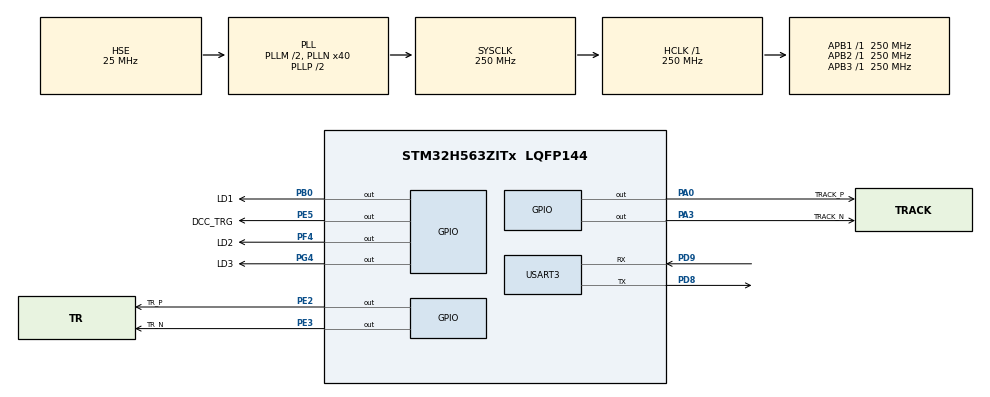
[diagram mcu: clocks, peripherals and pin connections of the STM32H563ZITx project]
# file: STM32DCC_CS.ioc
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BOOTPATH.BootPathName=LEGACY
BOOTPATH.UserSelectedBootPath=LEGACY
CORTEX_M33_NS.userName=CORTEX_M33
Mcu.Family=STM32H5
Mcu.Name=STM32H563ZITx
Mcu.Package=LQFP144
NVIC.PriorityGroup=NVIC_PRIORITYGROUP_4
NVIC.TIM2_IRQn=true\:2\:0\:true\:false\:true\:false\:true\:true\:true
NVIC.TIM6_IRQn=true\:15\:0\:false\:false\:true\:false\:false\:true\:true
NVIC.TimeBase=TIM6_IRQn
NVIC.TimeBaseIP=TIM6
PA0.GPIO_Label=TRACK_P
PA0.GPIO_Speed=GPIO_SPEED_FREQ_HIGH
PA0.Signal=GPIO_Output
PA3.GPIO_Label=TRACK_N
PA3.GPIO_Speed=GPIO_SPEED_FREQ_HIGH
PA3.Signal=GPIO_Output
PB0.GPIO_Label=LD1
PB0.Signal=GPIO_Output
PC14-OSC32_IN(OSC32_IN).Mode=LSE-External-Oscillator
PC14-OSC32_IN(OSC32_IN).Signal=RCC_OSC32_IN
PC15-OSC32_OUT(OSC32_OUT).Mode=LSE-External-Oscillator
PC15-OSC32_OUT(OSC32_OUT).Signal=RCC_OSC32_OUT
PD8.Mode=Asynchronous
PD8.Signal=USART3_TX
PD9.Mode=Asynchronous
PD9.Signal=USART3_RX
PE2.GPIO_Label=TR_P
PE2.GPIO_Speed=GPIO_SPEED_FREQ_VERY_HIGH
PE2.Signal=GPIO_Output
PE3.GPIO_Label=TR_N
PE3.GPIO_Speed=GPIO_SPEED_FREQ_VERY_HIGH
PE3.Signal=GPIO_Output
PE5.GPIO_Label=DCC_TRG
PE5.GPIO_Speed=GPIO_SPEED_FREQ_HIGH
PE5.Signal=GPIO_Output
PF4.GPIO_Label=LD2
PF4.Signal=GPIO_Output
PG4.GPIO_Label=LD3
PG4.Signal=GPIO_Output
PH0-OSC_IN(PH0).Mode=HSE-DIG-External-Clock-Source
PH0-OSC_IN(PH0).Signal=RCC_OSC_IN
ProjectManager.HeapSize=0x1024
ProjectManager.StackSize=0x2000
ProjectManager.TargetToolchain=CMake
RCC.ADCFreq_Value=250000000
RCC.AHBFreq_Value=250000000
RCC.APB1Freq_Value=250000000
RCC.APB1TimFreq_Value=250000000
RCC.APB2Freq_Value=250000000
RCC.APB2TimFreq_Value=250000000
RCC.APB3Freq_Value=250000000
RCC.CSI_VALUE=4000000
RCC.CortexFreq_Value=250000000
RCC.EPOD_VALUE=25000000
RCC.HCLKFreq_Value=250000000
RCC.HSE_VALUE=25000000
RCC.HSI48_VALUE=48000000
RCC.HSIDiv=RCC_HSI_DIV1
RCC.HSI_VALUE=64000000
RCC.LSIRC_VALUE=32000
RCC.PLLM=2
RCC.PLLN=40
RCC.PLLSourceVirtual=RCC_PLL1_SOURCE_HSE
RCC.SYSCLKFreq_VALUE=250000000
RCC.SYSCLKSource=RCC_SYSCLKSOURCE_PLLCLK
RCC.USART3CLockSelection=RCC_USART3CLKSOURCE_HSI
RCC.USBFreq_Value=48000000
RCC.VCOOutputFreq_Value=500000000
THREADX.AZRTOS_APP_MEM_ALLOCATION_METHOD=1
THREADX.TX_APP_CREATION=1
THREADX.TX_APP_GENERATE_INIT_CODE=true
THREADX.TX_APP_MEM_POOL_SIZE=65535
THREADX.TX_APP_STACK_SIZE=8192
THREADX.TX_MINIMUM_STACK=512
TIM2.PeriodNoDither=118
TIM2.Prescaler=75
USART3.VirtualMode-Asynchronous=VM_ASYNC
VP_BOOTPATH_VS_BOOTPATH.Mode=BP_Activate
VP_CORTEX_M33_NS_VS_Hclk.Mode=Hclk_Mode
VP_ICACHE_VS_ENABLE_ICACHE_MEMORY.Mode=Memoryregions
VP_ICACHE_VS_ICACHE.Mode=DirectMappedCache
VP_MEMORYMAP_VS_MEMORYMAP.Mode=CurAppReg
VP_PWR_VS_LPOM.Mode=PowerOptimisation
VP_PWR_VS_SECSignals.Mode=Security/Privilege
VP_SYS_VS_tim6.Mode=TIM6
VP_THREADX_VS_RTOSJjThreadXJjCoreJjDefault.Mode=Core_Default
VP_TIM2_VS_ClockSourceINT.Mode=Internal
board=custom

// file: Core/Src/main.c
/* USER CODE BEGIN Header */
/**
  ******************************************************************************
  * @file           : main.c
  * @brief          : Main program body
  ******************************************************************************
  * @attention
  *
  * Copyright (c) 2025 STMicroelectronics.
  * All rights reserved.
  *
  * This software is licensed under terms that can be found in the LICENSE file
  * in the root directory of this software component.
  * If no LICENSE file comes with this software, it is provided AS-IS.
  *
  ******************************************************************************
  */
/* USER CODE END Header */
#include "app_threadx.h"
#include "main.h"

/* USER CODE BEGIN Includes */
#include "stm32_lock_user.h"
#include "command_station.h"

/* USER CODE END Includes */

TIM_HandleTypeDef htim2;

UART_HandleTypeDef huart3;

/* USER CODE BEGIN PV */
LockingData_t newlib_lock = LOCKING_DATA_INIT;

/* USER CODE END PV */

void SystemClock_Config(void);
static void MX_GPIO_Init(void);
static void MX_USART3_UART_Init(void);
static void MX_ICACHE_Init(void);
static void MX_TIM2_Init(void);
/* USER CODE BEGIN PFP */
#if defined(__ICCARM__)
/* New definition from EWARM V9, compatible with EWARM8 */
int iar_fputc(int ch);
#define PUTCHAR_PROTOTYPE int iar_fputc(int ch)
#elif defined ( __CC_ARM ) || defined(__ARMCC_VERSION)
/* ARM Compiler 5/6*/
#define PUTCHAR_PROTOTYPE int fputc(int ch, FILE *f)
#elif defined(__GNUC__)
#define PUTCHAR_PROTOTYPE int __io_putchar(int ch)
#endif /* __ICCARM__ */

/* USER CODE END PFP */

/* USER CODE BEGIN 0 */

void init_thread_safe_system(void)
{
    stm32_lock_init(&newlib_lock);
}

void bsp_write_green_led(bool on) {
  if (on) HAL_GPIO_WritePin(LD1_GPIO_Port, LD1_Pin, GPIO_PIN_SET);
  else HAL_GPIO_WritePin(LD1_GPIO_Port, LD1_Pin, GPIO_PIN_RESET);
}

void bsp_write_yellow_led(bool on) {
  if (on) HAL_GPIO_WritePin(LD2_GPIO_Port, LD2_Pin, GPIO_PIN_SET);
  else HAL_GPIO_WritePin(LD2_GPIO_Port, LD2_Pin, GPIO_PIN_RESET);
}

void bsp_write_red_led(bool on) {
  if (on) HAL_GPIO_WritePin(LD3_GPIO_Port, LD3_Pin, GPIO_PIN_SET);
  else HAL_GPIO_WritePin(LD3_GPIO_Port, LD3_Pin, GPIO_PIN_RESET);
}

/* USER CODE END 0 */

int main(void)
{

  /* MCU Configuration--------------------------------------------------------*/

  /* Reset of all peripherals, Initializes the Flash interface and the Systick. */
  HAL_Init();

  /* Configure the system clock */
  SystemClock_Config();

  /* USER CODE BEGIN SysInit */

  // Initialize thread-safe lock
  init_thread_safe_system();

  /* USER CODE END SysInit */

  /* Initialize all configured peripherals */
  MX_GPIO_Init();
  MX_USART3_UART_Init();
  MX_ICACHE_Init();
  MX_TIM2_Init();

  MX_ThreadX_Init();

  /* We should never get here as control is now taken by the scheduler */

  /* Infinite loop */
  /* USER CODE BEGIN WHILE */
  while (1)
  {
    command_station_main();
    break;
    /* USER CODE END WHILE */

  }
}

void SystemClock_Config(void)
{
  RCC_OscInitTypeDef RCC_OscInitStruct = {0};
  RCC_ClkInitTypeDef RCC_ClkInitStruct = {0};

  /** Configure the main internal regulator output voltage
  */
  __HAL_PWR_VOLTAGESCALING_CONFIG(PWR_REGULATOR_VOLTAGE_SCALE0);

  while(!__HAL_PWR_GET_FLAG(PWR_FLAG_VOSRDY)) {}

  /** Initializes the RCC Oscillators according to the specified parameters
  * in the RCC_OscInitTypeDef structure.
  */
  RCC_OscInitStruct.OscillatorType = RCC_OSCILLATORTYPE_HSE;
  RCC_OscInitStruct.HSEState = RCC_HSE_BYPASS_DIGITAL;
  RCC_OscInitStruct.PLL.PLLState = RCC_PLL_ON;
  RCC_OscInitStruct.PLL.PLLSource = RCC_PLL1_SOURCE_HSE;
  RCC_OscInitStruct.PLL.PLLM = 2;
  RCC_OscInitStruct.PLL.PLLN = 40;
  RCC_OscInitStruct.PLL.PLLP = 2;
  RCC_OscInitStruct.PLL.PLLQ = 2;
  RCC_OscInitStruct.PLL.PLLR = 2;
  RCC_OscInitStruct.PLL.PLLRGE = RCC_PLL1_VCIRANGE_3;
  RCC_OscInitStruct.PLL.PLLVCOSEL = RCC_PLL1_VCORANGE_WIDE;
  RCC_OscInitStruct.PLL.PLLFRACN = 0;
  if (HAL_RCC_OscConfig(&RCC_OscInitStruct) != HAL_OK)
  {
    Error_Handler();
  }

  /** Initializes the CPU, AHB and APB buses clocks
  */
  RCC_ClkInitStruct.ClockType = RCC_CLOCKTYPE_HCLK|RCC_CLOCKTYPE_SYSCLK
                              |RCC_CLOCKTYPE_PCLK1|RCC_CLOCKTYPE_PCLK2
                              |RCC_CLOCKTYPE_PCLK3;
  RCC_ClkInitStruct.SYSCLKSource = RCC_SYSCLKSOURCE_PLLCLK;
  RCC_ClkInitStruct.AHBCLKDivider = RCC_SYSCLK_DIV1;
  RCC_ClkInitStruct.APB1CLKDivider = RCC_HCLK_DIV1;
  RCC_ClkInitStruct.APB2CLKDivider = RCC_HCLK_DIV1;
  RCC_ClkInitStruct.APB3CLKDivider = RCC_HCLK_DIV1;

  if (HAL_RCC_ClockConfig(&RCC_ClkInitStruct, FLASH_LATENCY_5) != HAL_OK)
  {
    Error_Handler();
  }

  /** Configure the programming delay
  */
  __HAL_FLASH_SET_PROGRAM_DELAY(FLASH_PROGRAMMING_DELAY_2);
}

static void MX_ICACHE_Init(void)
{

  /** Enable instruction cache in 1-way (direct mapped cache)
  */
  if (HAL_ICACHE_ConfigAssociativityMode(ICACHE_1WAY) != HAL_OK)
  {
    Error_Handler();
  }
  if (HAL_ICACHE_Enable() != HAL_OK)
  {
    Error_Handler();
  }

}

static void MX_TIM2_Init(void)
{

  TIM_ClockConfigTypeDef sClockSourceConfig = {0};
  TIM_MasterConfigTypeDef sMasterConfig = {0};

  htim2.Instance = TIM2;
  htim2.Init.Prescaler = 75;
  htim2.Init.CounterMode = TIM_COUNTERMODE_UP;
  htim2.Init.Period = 118;
  htim2.Init.ClockDivision = TIM_CLOCKDIVISION_DIV1;
  htim2.Init.AutoReloadPreload = TIM_AUTORELOAD_PRELOAD_DISABLE;
  if (HAL_TIM_Base_Init(&htim2) != HAL_OK)
  {
    Error_Handler();
  }
  sClockSourceConfig.ClockSource = TIM_CLOCKSOURCE_INTERNAL;
  if (HAL_TIM_ConfigClockSource(&htim2, &sClockSourceConfig) != HAL_OK)
  {
    Error_Handler();
  }
  sMasterConfig.MasterOutputTrigger = TIM_TRGO_RESET;
  sMasterConfig.MasterSlaveMode = TIM_MASTERSLAVEMODE_DISABLE;
  if (HAL_TIMEx_MasterConfigSynchronization(&htim2, &sMasterConfig) != HAL_OK)
  {
    Error_Handler();
  }

}

static void MX_USART3_UART_Init(void)
{

  huart3.Instance = USART3;
  huart3.Init.BaudRate = 115200;
  huart3.Init.WordLength = UART_WORDLENGTH_8B;
  huart3.Init.StopBits = UART_STOPBITS_1;
  huart3.Init.Parity = UART_PARITY_NONE;
  huart3.Init.Mode = UART_MODE_TX_RX;
  huart3.Init.HwFlowCtl = UART_HWCONTROL_NONE;
  huart3.Init.OverSampling = UART_OVERSAMPLING_16;
  huart3.Init.OneBitSampling = UART_ONE_BIT_SAMPLE_DISABLE;
  huart3.Init.ClockPrescaler = UART_PRESCALER_DIV1;
  huart3.AdvancedInit.AdvFeatureInit = UART_ADVFEATURE_NO_INIT;
  if (HAL_UART_Init(&huart3) != HAL_OK)
  {
    Error_Handler();
  }
  if (HAL_UARTEx_SetTxFifoThreshold(&huart3, UART_TXFIFO_THRESHOLD_1_8) != HAL_OK)
  {
    Error_Handler();
  }
  if (HAL_UARTEx_SetRxFifoThreshold(&huart3, UART_RXFIFO_THRESHOLD_1_8) != HAL_OK)
  {
    Error_Handler();
  }
  if (HAL_UARTEx_DisableFifoMode(&huart3) != HAL_OK)
  {
    Error_Handler();
  }

}

static void MX_GPIO_Init(void)
{
  GPIO_InitTypeDef GPIO_InitStruct = {0};

  /* GPIO Ports Clock Enable */
  __HAL_RCC_GPIOE_CLK_ENABLE();
  __HAL_RCC_GPIOC_CLK_ENABLE();
  __HAL_RCC_GPIOF_CLK_ENABLE();
  __HAL_RCC_GPIOH_CLK_ENABLE();
  __HAL_RCC_GPIOA_CLK_ENABLE();
  __HAL_RCC_GPIOB_CLK_ENABLE();
  __HAL_RCC_GPIOD_CLK_ENABLE();
  __HAL_RCC_GPIOG_CLK_ENABLE();

  /*Configure GPIO pin Output Level */
  HAL_GPIO_WritePin(GPIOE, TR_P_Pin|TR_N_Pin|DCC_TRG_Pin, GPIO_PIN_RESET);

  /*Configure GPIO pin Output Level */
  HAL_GPIO_WritePin(LD2_GPIO_Port, LD2_Pin, GPIO_PIN_RESET);

  /*Configure GPIO pin Output Level */
  HAL_GPIO_WritePin(GPIOA, TRACK_P_Pin|TRACK_N_Pin, GPIO_PIN_RESET);

  /*Configure GPIO pin Output Level */
  HAL_GPIO_WritePin(LD1_GPIO_Port, LD1_Pin, GPIO_PIN_RESET);

  /*Configure GPIO pin Output Level */
  HAL_GPIO_WritePin(LD3_GPIO_Port, LD3_Pin, GPIO_PIN_RESET);

  /*Configure GPIO pins : TR_P_Pin TR_N_Pin */
  GPIO_InitStruct.Pin = TR_P_Pin|TR_N_Pin;
  GPIO_InitStruct.Mode = GPIO_MODE_OUTPUT_PP;
  GPIO_InitStruct.Pull = GPIO_NOPULL;
  GPIO_InitStruct.Speed = GPIO_SPEED_FREQ_VERY_HIGH;
  HAL_GPIO_Init(GPIOE, &GPIO_InitStruct);

  /*Configure GPIO pin : DCC_TRG_Pin */
  GPIO_InitStruct.Pin = DCC_TRG_Pin;
  GPIO_InitStruct.Mode = GPIO_MODE_OUTPUT_PP;
  GPIO_InitStruct.Pull = GPIO_NOPULL;
  GPIO_InitStruct.Speed = GPIO_SPEED_FREQ_HIGH;
  HAL_GPIO_Init(DCC_TRG_GPIO_Port, &GPIO_InitStruct);

  /*Configure GPIO pin : LD2_Pin */
  GPIO_InitStruct.Pin = LD2_Pin;
  GPIO_InitStruct.Mode = GPIO_MODE_OUTPUT_PP;
  GPIO_InitStruct.Pull = GPIO_NOPULL;
  GPIO_InitStruct.Speed = GPIO_SPEED_FREQ_LOW;
  HAL_GPIO_Init(LD2_GPIO_Port, &GPIO_InitStruct);

  /*Configure GPIO pins : TRACK_P_Pin TRACK_N_Pin */
  GPIO_InitStruct.Pin = TRACK_P_Pin|TRACK_N_Pin;
  GPIO_InitStruct.Mode = GPIO_MODE_OUTPUT_PP;
  GPIO_InitStruct.Pull = GPIO_NOPULL;
  GPIO_InitStruct.Speed = GPIO_SPEED_FREQ_HIGH;
  HAL_GPIO_Init(GPIOA, &GPIO_InitStruct);

  /*Configure GPIO pin : LD1_Pin */
  GPIO_InitStruct.Pin = LD1_Pin;
  GPIO_InitStruct.Mode = GPIO_MODE_OUTPUT_PP;
  GPIO_InitStruct.Pull = GPIO_NOPULL;
  GPIO_InitStruct.Speed = GPIO_SPEED_FREQ_LOW;
  HAL_GPIO_Init(LD1_GPIO_Port, &GPIO_InitStruct);

  /*Configure GPIO pin : LD3_Pin */
  GPIO_InitStruct.Pin = LD3_Pin;
  GPIO_InitStruct.Mode = GPIO_MODE_OUTPUT_PP;
  GPIO_InitStruct.Pull = GPIO_NOPULL;
  GPIO_InitStruct.Speed = GPIO_SPEED_FREQ_LOW;
  HAL_GPIO_Init(LD3_GPIO_Port, &GPIO_InitStruct);

}

/* USER CODE BEGIN 4 */
/**
  * @brief  Retargets the C library __write function to the IAR function iar_fputc.
  * @param  file: file descriptor.
  * @param  ptr: pointer to the buffer where the data is stored.
  * @param  len: length of the data to write in bytes.
  * @retval length of the written data in bytes.
  */
int _write(int file, char *data, int len)
{
    (void)(file);
    // Transmit data using UART
    for (int i = 0; i < len; i++)
    {
        // Send the character
        USART3->TDR = (uint16_t)data[i];
        // Wait for the transmit buffer to be empty
        while (!(USART3->ISR & USART_ISR_TXE));
    }
    return len;
}

/**
  * @brief  Retargets the C library printf function to the USART.
  */
PUTCHAR_PROTOTYPE
{
  /* Place your implementation of putchar here */
  /* e.g. write a character to the USART3 and Loop until the end of transmission */
  HAL_UART_Transmit(&huart3, (uint8_t *)&ch, 1, 0xFFFF);

  return ch;
}

/* USER CODE END 4 */

void HAL_TIM_PeriodElapsedCallback(TIM_HandleTypeDef *htim)
{
  if (htim->Instance == TIM6)
  {
    HAL_IncTick();
  }
  /* USER CODE BEGIN Callback 1 */
  if (htim->Instance == TIM2)
  {
    CS_HAL_TIM_PeriodElapsedCallback(htim);
  }

  /* USER CODE END Callback 1 */
}

void Error_Handler(void)
{
  __disable_irq();
  while (1)
  {
  }
}
